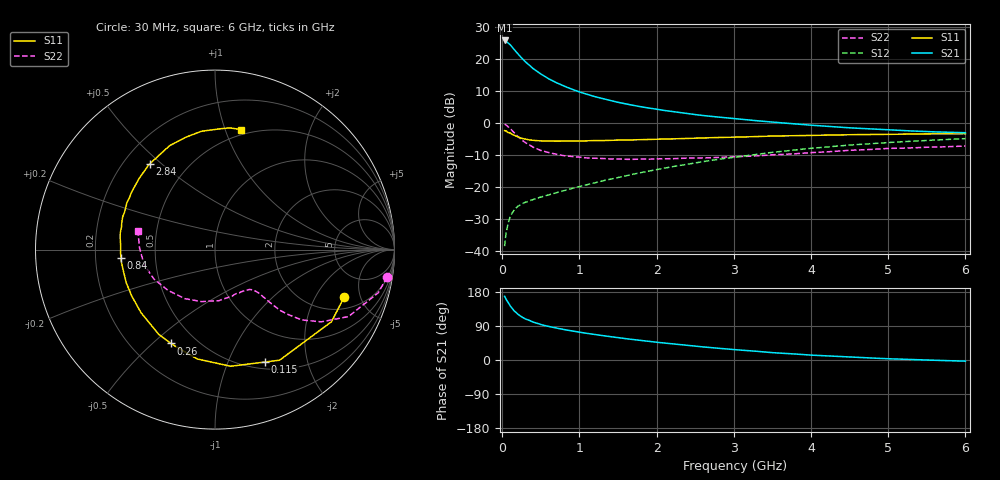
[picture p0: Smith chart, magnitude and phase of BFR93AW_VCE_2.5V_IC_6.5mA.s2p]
! Infineon Technologies  Discrete & RF Semiconductors
! BFR93AW
! VCE =  2.5 V,  IC =  6.5 mA
! Common Emitter S-Parameters:  Nov 2015
# GHz  S  MA  R  50
!  f  S11  S21  S12  S22
! GHz  MAG  ANG  MAG  ANG  MAG  ANG  MAG  ANG
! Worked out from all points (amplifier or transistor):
!   206 points, 30 MHz to 6 GHz, reference 50 ohm
!   highest |S21| = 25.9 dB at 30 MHz (marker M1)
!   |S21| within 3 dB of that: start of sweep to 160.2 MHz
!   unconditionally stable (mu >= 1): 860.3 MHz to 2.388 GHz
!   at 200 MHz: K = 0.37, MSG = 23.9 dB, |S12| = -26.0 dB
!   at 1.56 GHz: K = 1.09, MAG = 9.6 dB, |S12| = -16.7 dB
!   at 6 GHz: K = 0.94, MSG = 0.9 dB, |S12| = -4.8 dB
!   S11 on the Smith chart (normalised r, x): 30 MHz: 2.79, -3.56; 115 MHz: 0.58, -1.37; 260 MHz: 0.37, -0.57; 840 MHz: 0.31, -0.04; 2.84 GHz: 0.31, +0.46; 6 GHz: 0.45, +1.14
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0.03  0.7665 -20.1  19.79 168.0  0.0119 77.5  0.9709 -9.1
0.05  0.7636 -31.7  19.37 159.8  0.0193 74.4  0.9402 -14.9
0.1  0.7136 -59.7  17.12 143.2  0.0342 62.1  0.8317 -26.7
0.115  0.6852 -66.1  16.25 139.8  0.0369 59.5  0.7957 -28.7
0.15  0.6557 -82.4  14.48 130.3  0.0435 54.8  0.7164 -34.2
0.2  0.6174 -99.1  12.3 121.0  0.05 50.6  0.624 -38.9
0.24  0.5865 -110.1  10.86 115.4  0.0535 48.7  0.564 -40.9
0.26  0.5777 -115.1  10.23 112.8  0.0551 48.1  0.5386 -41.8
0.3  0.5667 -123.6  9.142 108.3  0.058 47.2  0.4969 -43.0
0.4  0.5418 -139.5  7.163 99.9  0.0639 47.0  0.4219 -44.0
0.5  0.5311 -151.0  5.893 93.5  0.07 48.3  0.3747 -44.4
0.6  0.5278 -159.5  4.974 88.5  0.0756 49.8  0.347 -44.7
0.7  0.5245 -166.7  4.324 84.2  0.0818 52.0  0.3272 -45.4
0.84  0.5258 -174.7  3.649 78.9  0.0909 54.4  0.3071 -47.1
1.04  0.5279 176.1  2.986 72.1  0.1051 57.3  0.2909 -50.1
1.48  0.5447 161.2  2.155 59.5  0.1395 61.3  0.2764 -60.3
2.02  0.5637 145.9  1.639 46.4  0.1899 62.1  0.2772 -75.7
2.84  0.6003 127.1  1.233 30.3  0.277 58.5  0.2929 -100.0
3.1  0.609 121.6  1.15 26.0  0.3049 56.4  0.3014 -108.1
4.1  0.6493 102.9  0.915 11.9  0.4148 46.0  0.3511 -142.5
5.1  0.6724 88.3  0.778 2.7  0.5075 33.9  0.4053 -170.7
6  0.6847 77.6  0.711 -3.1  0.5748 23.3  0.4406 166.7
